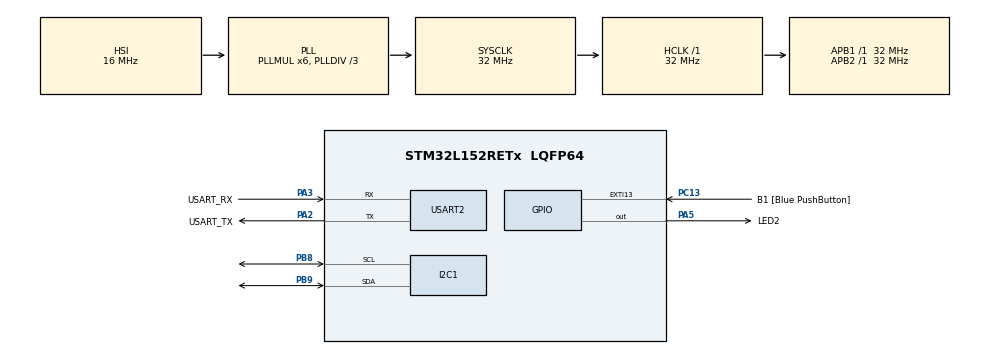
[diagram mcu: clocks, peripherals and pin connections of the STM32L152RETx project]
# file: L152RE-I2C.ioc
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Mcu.Family=STM32L1
Mcu.Name=STM32L152RETx
Mcu.Package=LQFP64
NVIC.PriorityGroup=NVIC_PRIORITYGROUP_0
PA13.GPIO_Label=TMS
PA13.Mode=Serial_Wire
PA13.Signal=SYS_JTMS-SWDIO
PA14.GPIO_Label=TCK
PA14.Mode=Serial_Wire
PA14.Signal=SYS_JTCK-SWCLK
PA2.GPIO_Label=USART_TX
PA2.Mode=Asynchronous
PA2.Signal=USART2_TX
PA3.GPIO_Label=USART_RX
PA3.Mode=Asynchronous
PA3.Signal=USART2_RX
PA5.GPIO_Label=LED2
PA5.Signal=GPIO_Output
PB3.GPIO_Label=SWO
PB3.Signal=SYS_JTDO-TRACESWO
PB8.Mode=I2C
PB8.Signal=I2C1_SCL
PB9.Mode=I2C
PB9.Signal=I2C1_SDA
PC13-WKUP2.GPIO_Label=B1 [Blue PushButton]
PC13-WKUP2.Signal=GPXTI13
PC14-OSC32_IN.Mode=LSE-External-Oscillator
PC14-OSC32_IN.Signal=RCC_OSC32_IN
PC15-OSC32_OUT.Mode=LSE-External-Oscillator
PC15-OSC32_OUT.Signal=RCC_OSC32_OUT
PH0-OSC_IN.Mode=HSE-External-Clock-Source
PH0-OSC_IN.Signal=RCC_OSC_IN
PH1-OSC_OUT.Signal=RCC_OSC_OUT
ProjectManager.HeapSize=0x200
ProjectManager.StackSize=0x400
ProjectManager.TargetToolchain=STM32CubeIDE
RCC.48MHZClocksFreq_Value=48000000
RCC.AHBFreq_Value=32000000
RCC.APB1Freq_Value=32000000
RCC.APB1TimFreq_Value=32000000
RCC.APB2Freq_Value=32000000
RCC.APB2TimFreq_Value=32000000
RCC.HCLKFreq_Value=32000000
RCC.HSE_VALUE=8000000
RCC.HSI_VALUE=16000000
RCC.MSI_VALUE=2097000
RCC.PLLDIV=RCC_PLL_DIV3
RCC.PLLMUL=RCC_PLL_MUL6
RCC.RTCClockSelectionVirtual=RCC_RTCCLKSOURCE_LSE
RCC.SYSCLKFreq_VALUE=32000000
RCC.SYSCLKSource=RCC_SYSCLKSOURCE_PLLCLK
RCC.USBOutput=48000000
RCC.VCOOutputFreq_Value=96000000
USART2.VirtualMode=VM_ASYNC
board=NUCLEO-L152RE

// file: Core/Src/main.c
/* USER CODE BEGIN Header */
/**
 ******************************************************************************
 * @file           : main.c
 * @brief          : Main program body
 ******************************************************************************
 * @attention
 *
 * Copyright (c) 2024 STMicroelectronics.
 * All rights reserved.
 *
 * This software is licensed under terms that can be found in the LICENSE file
 * in the root directory of this software component.
 * If no LICENSE file comes with this software, it is provided AS-IS.
 *
 ******************************************************************************
 */
/* USER CODE END Header */
#include "main.h"

I2C_HandleTypeDef hi2c1;

UART_HandleTypeDef huart2;

void SystemClock_Config(void);
static void MX_GPIO_Init(void);
static void MX_USART2_UART_Init(void);
static void MX_I2C1_Init(void);
/* USER CODE BEGIN PFP */
void I2C_Scan(void);
/* USER CODE END PFP */

/* USER CODE BEGIN 0 */
char test[] = "Hello World L152RE\n";
/* USER CODE END 0 */

int main(void)
{

  /* MCU Configuration--------------------------------------------------------*/

  /* Reset of all peripherals, Initializes the Flash interface and the Systick. */
  HAL_Init();

  /* Configure the system clock */
  SystemClock_Config();

  /* Initialize all configured peripherals */
  MX_GPIO_Init();
  MX_USART2_UART_Init();
  MX_I2C1_Init();
  /* USER CODE BEGIN 2 */
	I2C_Scan();
  /* USER CODE END 2 */

  /* Infinite loop */
  /* USER CODE BEGIN WHILE */
	while (1) {
		HAL_GPIO_TogglePin(LED2_GPIO_Port, LED2_Pin);
		HAL_Delay(200);
		//printf("run\n");
		//HAL_UART_Transmit(&huart2, (uint8_t*) test, strlen(test), 100);
    /* USER CODE END WHILE */

	}
}

void SystemClock_Config(void)
{
  RCC_OscInitTypeDef RCC_OscInitStruct = {0};
  RCC_ClkInitTypeDef RCC_ClkInitStruct = {0};

  /** Configure the main internal regulator output voltage
  */
  __HAL_PWR_VOLTAGESCALING_CONFIG(PWR_REGULATOR_VOLTAGE_SCALE1);

  /** Initializes the RCC Oscillators according to the specified parameters
  * in the RCC_OscInitTypeDef structure.
  */
  RCC_OscInitStruct.OscillatorType = RCC_OSCILLATORTYPE_HSI;
  RCC_OscInitStruct.HSIState = RCC_HSI_ON;
  RCC_OscInitStruct.HSICalibrationValue = RCC_HSICALIBRATION_DEFAULT;
  RCC_OscInitStruct.PLL.PLLState = RCC_PLL_ON;
  RCC_OscInitStruct.PLL.PLLSource = RCC_PLLSOURCE_HSI;
  RCC_OscInitStruct.PLL.PLLMUL = RCC_PLL_MUL6;
  RCC_OscInitStruct.PLL.PLLDIV = RCC_PLL_DIV3;
  if (HAL_RCC_OscConfig(&RCC_OscInitStruct) != HAL_OK)
  {
    Error_Handler();
  }

  /** Initializes the CPU, AHB and APB buses clocks
  */
  RCC_ClkInitStruct.ClockType = RCC_CLOCKTYPE_HCLK|RCC_CLOCKTYPE_SYSCLK
                              |RCC_CLOCKTYPE_PCLK1|RCC_CLOCKTYPE_PCLK2;
  RCC_ClkInitStruct.SYSCLKSource = RCC_SYSCLKSOURCE_PLLCLK;
  RCC_ClkInitStruct.AHBCLKDivider = RCC_SYSCLK_DIV1;
  RCC_ClkInitStruct.APB1CLKDivider = RCC_HCLK_DIV1;
  RCC_ClkInitStruct.APB2CLKDivider = RCC_HCLK_DIV1;

  if (HAL_RCC_ClockConfig(&RCC_ClkInitStruct, FLASH_LATENCY_1) != HAL_OK)
  {
    Error_Handler();
  }
}

static void MX_I2C1_Init(void)
{

  hi2c1.Instance = I2C1;
  hi2c1.Init.ClockSpeed = 100000;
  hi2c1.Init.DutyCycle = I2C_DUTYCYCLE_2;
  hi2c1.Init.OwnAddress1 = 0;
  hi2c1.Init.AddressingMode = I2C_ADDRESSINGMODE_7BIT;
  hi2c1.Init.DualAddressMode = I2C_DUALADDRESS_DISABLE;
  hi2c1.Init.OwnAddress2 = 0;
  hi2c1.Init.GeneralCallMode = I2C_GENERALCALL_DISABLE;
  hi2c1.Init.NoStretchMode = I2C_NOSTRETCH_DISABLE;
  if (HAL_I2C_Init(&hi2c1) != HAL_OK)
  {
    Error_Handler();
  }

}

static void MX_USART2_UART_Init(void)
{

  huart2.Instance = USART2;
  huart2.Init.BaudRate = 115200;
  huart2.Init.WordLength = UART_WORDLENGTH_8B;
  huart2.Init.StopBits = UART_STOPBITS_1;
  huart2.Init.Parity = UART_PARITY_NONE;
  huart2.Init.Mode = UART_MODE_TX_RX;
  huart2.Init.HwFlowCtl = UART_HWCONTROL_NONE;
  huart2.Init.OverSampling = UART_OVERSAMPLING_16;
  if (HAL_UART_Init(&huart2) != HAL_OK)
  {
    Error_Handler();
  }

}

static void MX_GPIO_Init(void)
{
  GPIO_InitTypeDef GPIO_InitStruct = {0};

  /* GPIO Ports Clock Enable */
  __HAL_RCC_GPIOC_CLK_ENABLE();
  __HAL_RCC_GPIOH_CLK_ENABLE();
  __HAL_RCC_GPIOA_CLK_ENABLE();
  __HAL_RCC_GPIOB_CLK_ENABLE();

  /*Configure GPIO pin Output Level */
  HAL_GPIO_WritePin(LED2_GPIO_Port, LED2_Pin, GPIO_PIN_RESET);

  /*Configure GPIO pin : B1_Pin */
  GPIO_InitStruct.Pin = B1_Pin;
  GPIO_InitStruct.Mode = GPIO_MODE_IT_RISING;
  GPIO_InitStruct.Pull = GPIO_NOPULL;
  HAL_GPIO_Init(B1_GPIO_Port, &GPIO_InitStruct);

  /*Configure GPIO pin : LED2_Pin */
  GPIO_InitStruct.Pin = LED2_Pin;
  GPIO_InitStruct.Mode = GPIO_MODE_OUTPUT_PP;
  GPIO_InitStruct.Pull = GPIO_NOPULL;
  GPIO_InitStruct.Speed = GPIO_SPEED_FREQ_LOW;
  HAL_GPIO_Init(LED2_GPIO_Port, &GPIO_InitStruct);

}

/* USER CODE BEGIN 4 */
void I2C_Scan(void) {
	printf("Scanning I2C bus:\r\n");
	HAL_StatusTypeDef result;
	uint8_t i;
	for (i = 1; i < 128; i++) {
		/*
		 * the HAL wants a left aligned i2c address
		 * &hi2c1 is the handle
		 * (uint16_t)(i<<1) is the i2c address left aligned
		 * retries 2
		 * timeout 2
		 */
		result = HAL_I2C_IsDeviceReady(&hi2c1, (uint16_t) (i << 1), 2, 2);
		if (result != HAL_OK) // HAL_ERROR or HAL_BUSY or HAL_TIMEOUT
				{
			printf("."); // No ACK received at that address
			sprintf(test, ".");
			HAL_UART_Transmit(&huart2, (uint8_t*) test, strlen(test), 1);
		}
		if (result == HAL_OK) {
			printf("0x%X", i); // Received an ACK at that address
			sprintf(test, "0x%X", i);
			HAL_UART_Transmit(&huart2, (uint8_t*) test, strlen(test), 100);
		}
	}
	printf("\r\n");
}

/* Send a char through ITM */
int _write(int file, char *ptr, int len) {
	int DataIdx;
	for (DataIdx = 0; DataIdx < len; DataIdx++) {
		ITM_SendChar(*ptr++);
	}
	return len;
}
/* USER CODE END 4 */

void Error_Handler(void)
{
	__disable_irq();
	while (1) {
	}
}
